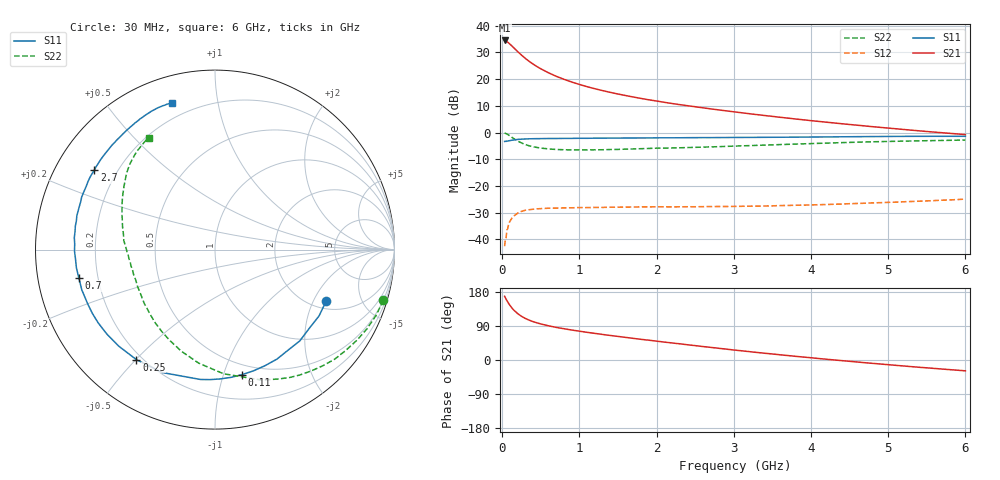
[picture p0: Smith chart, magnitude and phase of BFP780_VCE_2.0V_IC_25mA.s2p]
! Infineon Technologies  Discrete & RF Semiconductors
! BFP780
! VCE =  2.0 V,  IC =  25 mA
! Common Emitter S-Parameters:  Jul 2015
# GHz  S  MA  R  50
!  f  S11  S21  S12  S22
! GHz  MAG  ANG  MAG  ANG  MAG  ANG  MAG  ANG
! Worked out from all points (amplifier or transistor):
!   75 points, 30 MHz to 6 GHz, reference 50 ohm
!   highest |S21| = 34.5 dB at 30 MHz (marker M1)
!   |S21| within 3 dB of that: start of sweep to 157.8 MHz
!   unconditionally stable (mu >= 1): 2.283 GHz to end of sweep
!   at 150 MHz: K = 0.08, MSG = 31.5 dB, |S12| = -31.2 dB
!   at 2.3 GHz: K = 1.01, MAG = 18.6 dB, |S12| = -27.8 dB
!   at 6 GHz: K = 1.49, MAG = 7.9 dB, |S12| = -24.9 dB
!   S11 on the Smith chart (normalised r, x): 30 MHz: 2.37, -2.53; 110 MHz: 0.41, -1.15; 250 MHz: 0.18, -0.50; 700 MHz: 0.13, -0.10; 2.7 GHz: 0.12, +0.30; 6 GHz: 0.12, +0.74
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0.03  0.6827 -24.7  52.92 168.1  0.0075 81.9  0.9798 -16.7
0.05  0.6844 -40.0  51.27 160.2  0.011 70.7  0.9546 -27.6
0.07  0.6925 -54.0  49.09 153.3  0.0159 61.9  0.92 -37.6
0.09  0.7043 -66.8  46.42 146.9  0.0208 60.2  0.8831 -47.1
0.11  0.7128 -77.9  43.64 141.2  0.0232 54.5  0.8435 -55.9
0.13  0.7213 -87.9  41.08 136.0  0.0257 48.2  0.8044 -63.6
0.15  0.7281 -96.4  38.43 131.5  0.0275 45.8  0.7694 -70.7
0.2  0.7453 -113.2  32.65 122.3  0.0312 37.3  0.6932 -86.1
0.25  0.7534 -125.5  28.05 115.1  0.0337 31.5  0.639 -98.2
0.3  0.7596 -134.9  24.35 109.5  0.0353 26.8  0.5961 -108.4
0.4  0.7683 -147.9  19.08 101.2  0.0368 21.6  0.5429 -123.5
0.5  0.771 -156.7  15.58 95.1  0.0378 17.7  0.5121 -134.3
0.7  0.7749 -168.3  11.29 86.0  0.0386 13.4  0.4825 -149.3
0.9  0.779 -176.2  8.819 79.1  0.0392 11.2  0.4731 -159.1
1.1  0.7823 177.7  7.211 73.0  0.0395 9.8  0.4734 -166.3
1.5  0.7887 168.3  5.261 62.2  0.0402 8.1  0.4845 -176.3
2.1  0.7986 156.8  3.685 47.3  0.0408 6.7  0.5113 173.0
2.7  0.8049 146.7  2.778 33.3  0.0413 6.9  0.5395 163.1
3.1  0.8117 140.3  2.35 24.3  0.0418 7.1  0.5643 156.7
4.1  0.8277 126.1  1.619 3.9  0.0448 9.0  0.6291 143.0
5.1  0.8486 114.7  1.179 -14.1  0.05 9.2  0.6873 131.2
6  0.8528 106.4  0.917 -28.6  0.0569 7.1  0.725 120.7
